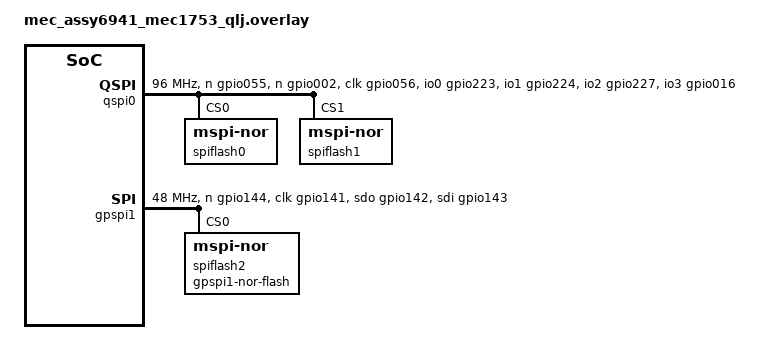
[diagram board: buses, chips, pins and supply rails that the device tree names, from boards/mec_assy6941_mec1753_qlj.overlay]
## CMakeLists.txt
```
# Copyright (c) 2026 Microchip Technology Inc.
#
# SPDX-License-Identifier: Apache-2.0
#
cmake_minimum_required(VERSION 3.20.0)

find_package(Zephyr REQUIRED HINTS $ENV{ZEPHYR_BASE})
project(mec_assy6941_mspi_test)

FILE(GLOB app_sources src/*.c)
target_sources(app PRIVATE ${app_sources})
```

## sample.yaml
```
sample:
  description: mec_assy6941 QMSPI-LDMA MSPI driver testing
  name: mec_assy6941 test
tests:
  sample.board.mec172xevb_assy6906.qmspi_ldma:
    harness: spi
    platform_allow:
      - mec_assy6906/mec1743_qlj
      - mec_assy6906/mec1743_qsz
      - mec_assy6906/mec1753_qlj
      - mec_assy6906/mec1753_qsz
    tags: mspi
    depends_on:
      - mspi
      - gpio
```

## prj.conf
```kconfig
# Enable config log
CONFIG_STDOUT_CONSOLE=y
CONFIG_LOG=y
CONFIG_LOG_MODE_IMMEDIATE=y

# CONFIG_FLASH=y
# CONFIG_FLASH_JESD216_API=y

CONFIG_DMA=y

CONFIG_MSPI=y
# Original MSPI Kconfig would load DMA driver
# QMSPI (except MEC15xx) has local-DMA channels
# We modified MSPI Kconfig to not enable DMA if
# our MSPI driver is enabled
CONFIG_MSPI_DMA=y
CONFIG_MSPI_ASYNC=y

# defaults
# CONFIG_DMA_INIT_PRIORITY=40
# CONFIG_INIT_FLASH_INIT_PRIORITY=50
# CONFIG_MSPI_INIT_PRIORITY=70
# We are using Flash MSPI NOR driver which during init
# calls MSPI driver. Change MSPI driver init priority to 49
CONFIG_MSPI_INIT_PRIORITY=49

CONFIG_FLASH=y
CONFIG_FLASH_JESD216_API=y
CONFIG_FLASH_MSPI_NOR_USE_SFDP=y

# we only need pseudo-random for test patterns
CONFIG_TEST_RANDOM_GENERATOR=y

# If CONFIG_PM=n Zephyr PINCTRL macros remove pinctrl-1 used for sleep
# This causes the PINCTRL macros to fail for pinctrl-2 and onwards.
# Enable PINCTRL keep sleep state to preserve pinctrl-1 pointer slot.
# Moved to select rule in drivers/mspi/Kconfig.mchp_xec
# CONFIG_PINCTRL_KEEP_SLEEP_STATE=y

# enable kernel idle timeout triggering PM transition
CONFIG_PM=n
# enable driver level PM. Kernel PM transition will call each driver
# before calling SoC layer
# Also enables PM API for the application to suspend individual devices
# and query their PM state.
CONFIG_PM_DEVICE=y

# Usage fault in MSPI driver debug routine calling LOG_INF many time
# try increasing main stack size
CONFIG_MAIN_STACK_SIZE=2048

# CONFIG_DEBUG=y
```

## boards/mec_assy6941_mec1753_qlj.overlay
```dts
/*
 * Copyright (c) 2026 Microchip Technology Inc.
 *
 * SPDX-License-Identifier: Apache-2.0
 */

/*
 * !!! WARNING !!!
 * QSPI0 Controller has two HW CE's and three sets of mutually
 * exclusive (clock, data) pin sets. Only one set of (clock, data)
 * shoule be enabled at one time.
 *
 * J18 2x10 for SPI donlge Assembly 6971
 * GPIO055/SHD_nCS0 -> J18.4  1SPI_nCS0
 * GPIO002/SHD_nCS1 -> J18.10 1SPI_nCS1
 * GPIO056/SHD_CLK  -> J18.2  1SPI_CLK
 * GPIO223/SHD_IO0  -> J18.6  1SPI_MOSI
 * GPIO224/SHD_IO1  -> J18.7  1SPI_MISO
 * GPIO227/SHD_IO2  -> J18.8  1SPI_nWP
 * GPIO016/SHD_IO3  -> J18.9  1SPI_nHOLD
 *
 * GPIO124/PVT_nCS -> J18.11 2SPI_nCS0
 * GPIO125/PVT_CLK -> J18.1  2SPI_CLK
 * GPIO121/PVT_IO0 -> J18.12 2SPI_MOSI
 * GPIO122/PVT_IO1 -> J18.13 2SPI_MISO
 * GPIO123/PVT_IO2 -> J18.14 2SPI_nWP
 * GPIO126/PVT_IO3 -> J18.16 2SPI_nHOLD
 *
 * GPIO024 F1 QGPSPI_CS
 * GPIO023 F1 QGPSPI_CLK
 * GPIO245 F1 QGPSPI_IO0
 * GPIO243 F1 QGPSPI_IO1
 * GPIO034 F1 QGPSPI_IO2
 * GPIO022 F1 QGPSPI_IO3
 *
 * EVB jumpers
 * -----------
 *
 * JP18 3x7 SHD_SPI pins
 * ---------------------
 *  2-3  select SHD_IO0
 *  5-6  select SHD_IO1
 *  8-9  select SHD_IO2
 * 11-12 select SHD_IO3
 * 14-15 select SHD_nCS0
 * 17-18 select SHD_CLK
 * 20-12 select SHD_nCS1
 *
 * JP16 3x6 PVT_SPI pins
 * --------------------
 *  2-3  select PVT_CLK
 *  5-6  select PVT_nCS
 *  8-9  select PVT_IO3
 * 11-12 select PVT_IO2
 * 14-15 select PVT_IO1
 * 17-18 select PVT_IO0
 *
 * JP17 3x7 QGPSPI pins
 * --------------------
 *  2-3  select QGPSPI_IO1
 *  5-6  select QGPSPI_IO0
 *  8-9  select QGPSPI_nCS
 * 11-12 select QGPSPI_CLK
 * 14-15 select QGPSPI_IO3
 * 17-18 select QGPSPI_IO2
 *
 * J32 2x8 QGPSPI header
 * ----------------------
 * 2  = QGPSPI_nCS
 * 4  = QGPSPI_CLK
 * 6  = QGPSPI_IO0
 * 8  = QGPSPI_IO1
 * 10 = QGPSPI_IO2
 * 12 = QGPSPI_IO3
 * 5,7,9,11,13,15 = GND
 *
 * ---------------------
 * GP-SPI0 controller
 * ---------------------
 *
 * JP15 3x6 MUX
 * ------------
 *  5-6  select SPI0_MOSI
 *  8-9  select SPI0_nCS0
 * 11-12 select SPI0_MISO
 * 17-18 select SPI0_CLK
 *
 * JP86 1x3
 * --------
 * 1-2 No Connect SPI0_nCS1 to U6 chip select pin
 * 2-3 select SPI0_nCS0 to U6 chip select pin
 *
 * EVB U6 SOIC-8
 * -------------
 * 5 = SPI0_MOSI
 * 2 = SPI0_MISO
 * 6 = SPI0_CLK
 * 1 = SPI0_nCS
 * 7 = nHOLD pulled-up (100K) to VTR1
 * 3 = nWP pull-up (100K) to VTR1
 *
 * J34 1x6 header
 * --------------
 * 1 = VTR1
 * 2 = SPI0_CLK
 * 3 = SPI0_MOSI
 * 4 = SPI0_MISO
 * 5 = SPI0_nCS0
 * 6 = GND
 */

#include <zephyr/dt-bindings/dma/mchp-xec-dmac.h>

/ {};

/* The Zephyr MSPI driver Kconfig rules enable CONFIG_DMA
 * if CONFIG_MSPI_DMA is enabled. MCHP QMSPI based MSPI driver
 * uses the local-DMA channels built into the QMSPI controller.
 * We did not want to change MSPI Kconfig rules so we must enable
 * our central DMA controller even though it is not used by QMSPI MSPI.
 * But, the future MSPI driver for the GPSPI controller will require
 * the DMA driver (it has no local DMA).
 */
&dmac {
	status = "okay";
};

&pinctrl {
	spi1_cs_n_gpio144_lp: spi1_cs_n_gpio144_lp {
		pinmux = <MCHP_XEC_PINMUX(0144, MCHP_AF3)>;
		low-power-enable;
	};

	spi1_clk_gpio141_lp: spi1_clk_gpio141_lp {
		pinmux = <MCHP_XEC_PINMUX(0141, MCHP_AF3)>;
		low-power-enable;
	};

	spi1_sdo_gpio142_lp: spi1_sdo_gpio142_lp {
		pinmux = <MCHP_XEC_PINMUX(0142, MCHP_AF3)>;
		low-power-enable;
	};

	spi1_sdi_gpio143_lp: spi1_sdi_gpio143_lp {
		pinmux = <MCHP_XEC_PINMUX(0143, MCHP_AF3)>;
		low-power-enable;
	};
};

&qspi0 {
	compatible = "microchip,xec-qmspi-mspi-controller";
	status = "okay";

	pinctrl-0 = <&qspi_shd_cs0_n_gpio055 &qspi_shd_cs1_n_gpio002
		     &qspi_shd_clk_gpio056
		     &qspi_shd_io0_gpio223 &qspi_shd_io1_gpio224
		     &qspi_shd_io2_gpio227 &qspi_shd_io3_gpio016>;
	pinctrl-1 = <&qspi_shd_io3_gpio016_lp &qspi_shd_io2_gpio227_lp
		     &qspi_shd_io1_gpio224_lp &qspi_shd_io0_gpio223_lp
		     &qspi_shd_clk_gpio056_lp &qspi_shd_cs0_n_gpio055_fp>;
	pinctrl-names = "default", "sleep";

	clock-frequency = <DT_FREQ_M(96)>; /* Maximum frequency the controller can support */
	op-mode = "MSPI_OP_MODE_CONTROLLER";
	duplex = "MSPI_HALF_DUPLEX";
	software-multiperipheral; /* REQUIRED */
	num-hw-ce = <2>; /* Shared SPI supports two HW chip enables */

	/* Use Shared CS1 as a GPIO instead of HW CE for test purposes
	 * ISSUE: MSPI_DEVICE_ID_DT macro will look at ce-gpios and use
	 * reg property as in index!
	 * MSPI_DEVICE_CONFIG_DT macro sets struct mspi_dev_cfg ce_num to
	 * the value of mspi-hardware-ce-num or 0 if mspi-hardware-ce-num is not present!
	 */
	/* ce-gpios = <MCHP_GPIO_DECODE_002 GPIO_ACTIVE_LOW>; */

	/* W25Q128JV 3.3V flash JEDEC-ID = 0xef, 0x40, 0x18
	 * supports:
	 *   1-1-1 Page program 0x02
	 *   1-1-4 Page program 0x32
	 *   1-1-1 Read 0x03 <= 20 MHz, no dummy clocks
	 *   1-1-1 Fast Read  0x0B plus 8 dummy clocks
	 *   1-1-2 Fast Read Dual Output 0x3B plus 8 dummy clocks
	 *   1-1-4 Fast Read Quad Output 0x6B plus 8 dummy clocks
	 *   1-2-2 Fast Read Dual 0xBB plus mode byte
	 *   1-4-4 Fast Read Quad 0xEB, plus mode byte
	 *
	 * W25Q128FW 1.8V flash JEDEC-ID = 0xef, 0x60, 0x18
	 * Same opcodes as above
	 *
	 * Requires mspi-endian = "MSPI_BIG_ENDIAN";
	 * because QSPI operates most-significant-bit-first and the MSPI flash driver
	 * defaults to MSPI_LITTLE_ENDIAN if mspi-endian property is not present!
	 */

	spiflash0: qspi-nor-flash@0 {
		compatible = "jedec,mspi-nor";
		reg = <0>;

		mspi-hardware-ce-num = <0>;
		mspi-max-frequency = <DT_FREQ_M(4)>;
		mspi-io-mode = "MSPI_IO_MODE_QUAD_1_1_4";
		mspi-data-rate = "MSPI_DATA_RATE_SINGLE";
		mspi-endian = "MSPI_BIG_ENDIAN";
		read-command = <0x6b>;
		write-command = <0x32>;
		command-length = "INSTR_1_BYTE";
		address-length = "ADDR_3_BYTE";
		tx-dummy = <0>;
		rx-dummy = <8>;
		size = <DT_SIZE_M(128)>;
		jedec-id = [ef 40 18];
		sfdp-bfp = [00];
		status = "okay";
	};

	spiflash1: qspi-nor-flash@1 {
		compatible = "jedec,mspi-nor";
		reg = <1>;

		mspi-hardware-ce-num = <1>;
		mspi-max-frequency = <DT_FREQ_M(4)>;
		mspi-io-mode = "MSPI_IO_MODE_QUAD_1_1_4";
		mspi-data-rate = "MSPI_DATA_RATE_SINGLE";
		mspi-endian = "MSPI_BIG_ENDIAN";
		read-command = <0x6b>;
		write-command = <0x32>;
		command-length = "INSTR_1_BYTE";
		address-length = "ADDR_3_BYTE";
		tx-dummy = <0>;
		rx-dummy = <8>;
		size = <DT_SIZE_M(128)>;
		jedec-id = [ef 40 18];
		sfdp-bfp = [00];
		status = "okay";
	};

};

/* EVB GP-SPI0 flash socket U6 is broken. Use GP-SPI1 and flash socket U7 */
&gpspi1 {
	compatible = "microchip,xec-gpspi-v2-mspi-controller";
	status = "okay";

	dmas = <&dmac 14 DMA_MCHP_XEC_TRIG_SRC_GPSPI1_TX>,
	       <&dmac 15 DMA_MCHP_XEC_TRIG_SRC_GPSPI1_RX>;
	dma-names = "tx", "rx";

	pinctrl-0 = <&spi1_cs_n_gpio144 &spi1_clk_gpio141
		     &spi1_sdo_gpio142 &spi1_sdi_gpio143>;
	pinctrl-1 = <&spi1_cs_n_gpio144_lp &spi1_clk_gpio141_lp
		     &spi1_sdo_gpio142_lp &spi1_sdi_gpio143_lp>;
	pinctrl-names = "default", "sleep";

	clock-frequency = <DT_FREQ_M(48)>; /* Maximum frequency the controller can support */
	op-mode = "MSPI_OP_MODE_CONTROLLER";
	duplex = "MSPI_HALF_DUPLEX";
	software-multiperipheral; /* REQUIRED */

	/* 25Q128JVSM +3.3V JEDEC-ID = 0xef7018 */
	spiflash2: gpspi1-nor-flash@0 {
		compatible = "jedec,mspi-nor";
		reg = <0>;

		mspi-hardware-ce-num = <0>;
		mspi-max-frequency = <DT_FREQ_M(4)>;
		mspi-io-mode = "MSPI_IO_MODE_SINGLE";
		mspi-data-rate = "MSPI_DATA_RATE_SINGLE";
		mspi-endian = "MSPI_BIG_ENDIAN";
		read-command = <0x0B>;
		write-command = <0x02>;
		command-length = "INSTR_1_BYTE";
		address-length = "ADDR_3_BYTE";
		tx-dummy = <0>;
		rx-dummy = <8>;
		size = <DT_SIZE_M(128)>;
		jedec-id = [ef 70 18];
		sfdp-bfp = [00];
		status = "okay";
	};
};
```

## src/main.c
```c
/*
 * Copyright (c) 2026 Microchip Technology Inc.
 *
 * SPDX-License-Identifier: Apache-2.0
 */

#include <string.h>
#include <soc.h>
#include <zephyr/kernel.h>
#include <zephyr/device.h>
#include <zephyr/drivers/flash.h>
#include <zephyr/drivers/mspi.h>
#include <zephyr/drivers/mspi/devicetree.h>
#include <zephyr/logging/log.h>
#include <zephyr/random/random.h>

LOG_MODULE_REGISTER(main);

/* #define APP_DEBUG_DUMP_CFGS */

#define W25Q128_JEDEC_ID       0x001840efU
#define W25Q128JV_JEDEC_ID     0x001870efU
#define SST26VF016B_JEDEC_ID   0x004126bfU
#define SPI_FLASH_JEDEC_ID_MSK 0x00ffffffu

#define SPI_FLASH_READ_JEDEC_ID_OPCODE 0x9fu

#define SPI_FLASH_READ_STATUS1_OPCODE 0x05u
#define SPI_FLASH_READ_STATUS2_OPCODE 0x35u
#define SPI_FLASH_READ_STATUS3_OPCODE 0x15u

#define SPI_FLASH_WRITE_STATUS1_OPCODE 0x01u
#define SPI_FLASH_WRITE_STATUS2_OPCODE 0x31u
#define SPI_FLASH_WRITE_STATUS3_OPCODE 0x11u

#define SPI_FLASH_WRITE_ENABLE_OPCODE              0x06u
#define SPI_FLASH_WRITE_DISABLE_OPCODE             0x04u
#define SPI_FLASH_WRITE_ENABLE_VOLATILE_STS_OPCODE 0x50u

#define SPI_FLASH_READ_SFDP_CMD 0x5au

#define SPI_FLASH_READ_SLOW_OPCODE 0x03u
#define SPI_FLASH_READ_FAST_OPCODE 0x0bu
#define SPI_FLASH_READ_DUAL_OPCODE 0x3bu
#define SPI_FLASH_READ_QUAD_OPCODE 0x6bu

#define SPI_FLASH_ERASE_SECTOR_OPCODE 0x20u
#define SPI_FLASH_ERASE_BLOCK1_OPCODE 0x52u
#define SPI_FLASH_ERASE_BLOCK2_OPCODE 0xd8u
#define SPI_FLASH_ERASE_CHIP_OPCODE   0xc7u

#define SPI_FLASH_PAGE_PROG_OPCODE 0x02u

#define SPI_FLASH_PAGE_SIZE   256
#define SPI_FLASH_SECTOR_SIZE 4096
#define SPI_FLASH_BLOCK1_SIZE (32 * 1024)
#define SPI_FLASH_BLOCK2_SIZE (64 * 1024)

#define SPI_FLASH_STATUS1_BUSY_POS 0
#define SPI_FLASH_STATUS1_WEL_POS  1

#define SPI_FLASH_STATUS2_SRL_POS     0
#define SPI_FLASH_STATUS2_QE_POS      1
#define SPI_FLASH_STATUS2_SUS_STS_POS 7

#define SPI_FLASH_TEST_ADDR MB(4)

#define MSPI0_NODE  DT_NODELABEL(qspi0)
#define FLASH0_NODE DT_NODELABEL(spiflash0)

#define MSPI1_NODE  DT_NODELABEL(gpspi0)
#define FLASH2_NODE DT_NODELABEL(spiflash2)

struct spi_address {
	uint32_t addr;
	uint8_t byte_len;
};

enum spi_flash_read_cmd {
	CMD_SPI_FLASH_READ_SLOW = 0,
	CMD_SPI_FLASH_READ_FAST,
	CMD_SPI_FLASH_READ_DUAL,
	CMD_SPI_FLASH_READ_QUAD,
	CMD_SPI_FLASH_READ_MAX
};

struct app_flash_info {
	const struct device *flash_dev;
	const struct mspi_dt_spec *mspi_dtspec;
	const struct mspi_dev_id mspi_fdid;
	const struct mspi_dev_cfg mspi_fdcfg;
};

#define MSPI_OP_MODE_DT(nid) \
	(enum mspi_op_mode)DT_ENUM_IDX_OR(nid, op_mode, MSPI_OP_MODE_CONTROLLER)

#define MSPI_DUPLEX_DT(nid) \
	(enum mspi_duplex)DT_ENUM_IDX_OR(nid, duplex, MSPI_HALF_DUPLEX)

#define APP_DECLARE_CE_GPIOS(nid) \
	static const struct gpio_dt_spec mspi_ce_gpios_##nid[] = \
		MSPI_CE_GPIOS_DT_SPEC_GET(nid);

DT_FOREACH_STATUS_OKAY(microchip_xec_qmspi_mspi_controller, APP_DECLARE_CE_GPIOS)
DT_FOREACH_STATUS_OKAY(microchip_xec_gpspi_v2_mspi_controller, APP_DECLARE_CE_GPIOS)

#define APP_MSPI_DT_SPEC_ELEM(nid) \
	static const struct mspi_dt_spec app_mspi_dt_##nid = { \
		.bus = DEVICE_DT_GET(nid), \
		.config = { \
			.channel_num = DT_PROP_OR(nid, channel_num, 0), \
			.op_mode = MSPI_OP_MODE_DT(nid), \
			.duplex = MSPI_DUPLEX_DT(nid), \
			.dqs_support = DT_PROP_OR(nid, dqs_support, 0), \
			.sw_multi_periph = DT_PROP_OR(nid, software_multiperipheral, 0), \
			.max_freq = DT_PROP_OR(nid, clock_frequency, MHZ(12)), \
			.num_periph = DT_CHILD_NUM(nid), \
			.ce_group = (struct gpio_dt_spec *)mspi_ce_gpios_##nid, \
			.num_ce_gpios = ARRAY_SIZE(mspi_ce_gpios_##nid), \
		} \
	}

DT_FOREACH_STATUS_OKAY(microchip_xec_qmspi_mspi_controller, APP_MSPI_DT_SPEC_ELEM);
DT_FOREACH_STATUS_OKAY(microchip_xec_gpspi_v2_mspi_controller, APP_MSPI_DT_SPEC_ELEM);

#define APP_FLASH_INFO2(fnid, nid) \
	{ \
		.flash_dev = DEVICE_DT_GET(fnid), \
		.mspi_dtspec = &app_mspi_dt_##nid, \
		.mspi_fdid = MSPI_DEVICE_ID_DT(fnid), \
		.mspi_fdcfg = MSPI_DEVICE_CONFIG_DT(fnid), \
	},

#define APP_FLASH_INFO(nid) \
	DT_FOREACH_CHILD_STATUS_OKAY_VARGS(nid, APP_FLASH_INFO2, nid)

static const struct app_flash_info app_flashes[] = {
	DT_FOREACH_STATUS_OKAY(microchip_xec_qmspi_mspi_controller, APP_FLASH_INFO)
	DT_FOREACH_STATUS_OKAY(microchip_xec_gpspi_v2_mspi_controller, APP_FLASH_INFO)
};

static uint32_t jedec_id;

#define SPI_TEST_BUF1_SIZE 256

static uint8_t buf1[SPI_TEST_BUF1_SIZE];

#define SPI_TEST_ADDR1 0xc10000u

#define SPI_FILL_VAL         0x69u
#define SPI_TEST_BUFFER_SIZE (8U * 1024U)

struct test_buf {
	union {
		uint32_t w[(SPI_TEST_BUFFER_SIZE) / 4];
		uint16_t h[(SPI_TEST_BUFFER_SIZE) / 2];
		uint8_t b[(SPI_TEST_BUFFER_SIZE)];
	};
};

static struct test_buf tb1;
static struct test_buf tb2;

static bool is_data_buf_filled_with(uint8_t *data, size_t datasz, uint8_t val);

#define BUF_FILL_INCR_VAL 0
#define BUF_FILL_RAND_VAL 1U
static int fill_buffer(uint8_t *buf, size_t bufsz, uint8_t fill_type);

static int test_mspi(const struct mspi_dt_spec *mspi_dts, const struct mspi_dev_id *mspi_did,
		     const struct mspi_dev_cfg *mspi_dcfg, enum mspi_xfer_mode xmode);

static int test_mspi_flash(const struct device *flash_dev);

static int test_mspi_dev_config(void);

#ifdef CONFIG_MSPI_ASYNC

static bool async_run = false;

static int mspi_async_test_prep(void);

static void mspi_async_cb(struct mspi_callback_context *mspi_cb_ctx, uint32_t status);

static int test_mspi_async(const struct mspi_dt_spec *mspi_dts, const struct mspi_dev_id *mspi_did,
			   const struct mspi_dev_cfg *mspi_dcfg, enum mspi_xfer_mode xmode);
#endif

#ifdef APP_DEBUG_DUMP_CFGS
static void pr_mspi_dev_ids(const struct mspi_dev_id *dev_id_tbl, size_t num_dev_ids);
static void pr_mspi_dev_cfgs(const struct mspi_dev_cfg *dev_cfg_tbl, size_t num_dev_cfgs);
#endif

int main(void)
{
	uint32_t ready_bitmap = 0;
	int rc = 0;
	struct mspi_dev_cfg dual_read_dcfg = {0};

	LOG_INF("MEC_Assy6941 board MSPI sample main");

	LOG_INF("Sizeof(struct mspi_cfg)       = 0x%0x", sizeof(struct mspi_cfg));
	LOG_INF("Sizeof(struct mspi_dev_id)    = 0x%0x", sizeof(struct mspi_dev_id));
	LOG_INF("Sizeof(struct mspi_dev_cfg)   = 0x%0x", sizeof(struct mspi_dev_cfg));
	LOG_INF("Sizeof(struct app_flash_info) = 0x%0x", sizeof(struct app_flash_info));

	jedec_id = 0xffffffffU;

	memset(buf1, 0, sizeof(buf1));
	memset((void *)&tb1, 0x55, sizeof(tb1));

#ifdef CONFIG_MSPI_ASYNC
	rc = mspi_async_test_prep();
	if (rc == 0) {
		async_run = true;
	} else {
		LOG_ERR("MSPI Async test prep error (%d)", rc);
	}
#endif

	for (size_t i = 0; i < ARRAY_SIZE(app_flashes); i++) {
		const struct app_flash_info *fi = &app_flashes[i];
		const struct device *flash_dev = fi->flash_dev;
		const struct mspi_dt_spec *mdt = fi->mspi_dtspec;
		const struct mspi_dev_id *did = &fi->mspi_fdid;
		const struct mspi_dev_cfg *dcfg = &fi->mspi_fdcfg;

		LOG_INF("App flash info [%u] name = %s", i, flash_dev->name);
		LOG_INF("MSPI controller = %s", mdt->bus->name);

		bool mspi_is_ready = device_is_ready(mdt->bus);
		if (!mspi_is_ready) {
			LOG_ERR("MSPI controller driver is not ready!");
		}

		bool flash_is_ready = device_is_ready(flash_dev);
		if (!flash_is_ready) {
			LOG_ERR("Flash driver is not ready!");
		}

		if (mspi_is_ready && flash_is_ready) {
			ready_bitmap |= BIT(i);
		} else {
			continue;
		}

		LOG_INF("Test MSPI_PIO");
		rc = test_mspi(mdt, did, dcfg, MSPI_PIO);
		if (rc != 0) {
			LOG_ERR("Test MSPI_PIO controller error (%d)", rc);
		}

		LOG_INF("Test MSPI_DMA");
		rc = test_mspi(mdt, did, dcfg, MSPI_DMA);
		if (rc != 0) {
			LOG_ERR("Test MSPI_DMA controller error (%d)", rc);
		}

		LOG_INF("Test MSPI Flash driver");
		rc = test_mspi_flash(flash_dev);
		if (rc != 0) {
			LOG_ERR("Test MSPI Flash driver error(%d)", rc);
		}

		memcpy((void *)&dual_read_dcfg, dcfg, sizeof(struct mspi_dev_cfg));
		dual_read_dcfg.io_mode = MSPI_IO_MODE_DUAL_1_1_2;
		dual_read_dcfg.rx_dummy = 8U;
		dual_read_dcfg.tx_dummy = 0;
		dual_read_dcfg.read_cmd = 0x3BU; /* 1-1-2 */
		dual_read_dcfg.write_cmd = 0x02U; /* 1-1-1 */
		dual_read_dcfg.cmd_length = 1U;
		dual_read_dcfg.addr_length = 3U;
		dual_read_dcfg.mem_boundary = 0;
		dual_read_dcfg.time_to_break = 0;

		LOG_INF("Test MSPI_PIO Dual");
		rc = test_mspi(mdt, did, &dual_read_dcfg, MSPI_PIO);
		if (rc != 0) {
			LOG_ERR("Test MSPI_PIO controller error (%d)", rc);
		}

		LOG_INF("Test MSPI_DMA Dual");
		rc = test_mspi(mdt, did, &dual_read_dcfg, MSPI_DMA);
		if (rc != 0) {
			LOG_ERR("Test MSPI_DMA controller error (%d)", rc);
		}

#ifdef CONFIG_MSPI_ASYNC
		if (!async_run) {
			LOG_ERR("Async prep failure, skipping tests");
			continue;
		}

		rc = test_mspi_async(mdt, did, dcfg, MSPI_PIO);
		if (rc != 0) {
			LOG_ERR("Test MSPI QMSPI Async PIO error (%d)", rc);
		}

		rc = test_mspi_async(mdt, did, dcfg, MSPI_DMA);
		if (rc != 0) {
			LOG_ERR("Test MSPI QMSPI Async DMA error (%d)", rc);
		}
#endif
	}

	rc = test_mspi_dev_config();
	if (rc != 0) {
		LOG_ERR("Test MSPI device config error (%d)", rc);
	}

	LOG_INF("Program End");

	return 0;
} /* end main */

static bool is_data_buf_filled_with(uint8_t *data, size_t datasz, uint8_t val)
{
	if (!data || !datasz) {
		return false;
	}

	for (size_t i = 0; i < datasz; i++) {
		if (data[i] != val) {
			return false;
		}
	}

	return true;
}

static int fill_buffer(uint8_t *buf, size_t bufsz, uint8_t fill_type)
{
	if ((buf == NULL) || (bufsz == 0)) {
		return -EINVAL;
	}

	if (fill_type == BUF_FILL_RAND_VAL) {
		sys_rand_get(buf, bufsz);
	} else {
		for (size_t n = 0; n < bufsz; n++) {
			buf[n] = (uint8_t)(n % 256U);
		}
	}

	return 0;
}

#ifdef APP_DEBUG_DUMP_CFGS
static void pr_mspi_dev_ids(const struct mspi_dev_id *dev_id_tbl, size_t num_dev_ids)
{
	if ((dev_id_tbl == NULL) || (num_dev_ids == 0)) {
		LOG_INF("MPSI device id table is empty");
		return;
	}

	for (size_t n = 0; n < num_dev_ids; n++) {
		const struct mspi_dev_id *did = &dev_id_tbl[n];

		LOG_INF("MSPI Device ID table entry %u", n);
		LOG_INF("  DevIdx = %u", did->dev_idx);
		LOG_INF("  ce.port = %p", did->ce.port);
		if (did->ce.port != NULL) {
			LOG_INF("    Port = %s", did->ce.port->name);
		}
		LOG_INF("  ce.pin = 0x%0x", did->ce.pin);
		LOG_INF("  cp.dt_flags = 0x%0x", did->ce.dt_flags);
	}
}

static void pr_mspi_dev_cfgs(const struct mspi_dev_cfg *dev_cfg_tbl, size_t num_dev_cfgs)
{
	if ((dev_cfg_tbl == NULL) || (num_dev_cfgs == 0)) {
		LOG_INF("MSPI device config table is empty");
		return;
	}

	for (size_t n = 0; n < num_dev_cfgs; n++) {
		const struct mspi_dev_cfg *dcfg = &dev_cfg_tbl[n];

		LOG_INF("MSPI Device Config table entry %u", n);
		LOG_INF("  CE Num = %u", dcfg->ce_num);
		LOG_INF("  Freq = %u", dcfg->freq);
		LOG_INF("  IO mode = %u", dcfg->io_mode);
		LOG_INF("  Data rate = %u", dcfg->data_rate);
		LOG_INF("  CPP = %u", dcfg->cpp);
		LOG_INF("  Endian = %u", dcfg->endian);
		LOG_INF("  CE polarity = %u", dcfg->ce_polarity);
		LOG_INF("  DQS Enable = %u", dcfg->dqs_enable);
		LOG_INF("  RX dummy = %u", dcfg->rx_dummy);
		LOG_INF("  TX dummy = %u", dcfg->tx_dummy);
		LOG_INF("  Read Cmd = 0x%0x", dcfg->read_cmd);
		LOG_INF("  Write Cmd = 0x%0x", dcfg->write_cmd);
		LOG_INF("  Cmd Length = %u", dcfg->cmd_length);
		LOG_INF("  Addr Length = %u", dcfg->addr_length);
		LOG_INF("  Mem Boundary = 0x%0x", dcfg->mem_boundary);
		LOG_INF("  Time to Break = %u", dcfg->time_to_break);
	}
}
#endif

static int test_mspi(const struct mspi_dt_spec *mspi_dts, const struct mspi_dev_id *mspi_did,
		     const struct mspi_dev_cfg *mspi_dcfg, enum mspi_xfer_mode xmode)
{
	int rc = 0;
	const enum mspi_dev_cfg_mask param_msk = MSPI_DEVICE_CONFIG_ALL;

	if ((mspi_dts == NULL) || (mspi_did == NULL) || (mspi_dcfg == NULL) |
	    ((xmode != MSPI_PIO) && (xmode != MSPI_DMA))) {
		return -EINVAL;
	}

	LOG_INF("Check if MSPI device %s is ready", mspi_dts->bus->name);
	if (!device_is_ready(mspi_dts->bus)) {
		LOG_ERR("MSPI driver not ready!\n");
		return -ENOTCONN;
	}

	LOG_INF("Fill test buffer tb1 with 0x55");
	memset((void *)&tb1, 0x55, sizeof(tb1));

	LOG_INF("Configure MSPI device using DT parameters");

	rc = mspi_dev_config(mspi_dts->bus, mspi_did, param_msk, mspi_dcfg);
	if (rc != 0) {
		LOG_ERR("MSPI device cfg API error (%d)", rc);
		return rc;
	}

	const struct mspi_xfer_packet pkt = {
		.dir = MSPI_RX,
		.cb_mask = 0,
		.cmd = mspi_dcfg->read_cmd,
		.address = SPI_FLASH_TEST_ADDR,
		.num_bytes = 32U,
		.data_buf = tb1.b,
	};

	const struct mspi_xfer mxfr = {
		.async = false,
		.xfer_mode = xmode,
		.tx_dummy = 0,
		.rx_dummy = 8U, /* cycles */
		.cmd_length = 1U, /* bytes */
		.addr_length = 3U, /* bytes */
		.hold_ce = false,
		.ce_sw_ctrl = {
			.gpio = {NULL, 0, 0},
			.delay = 0,
		},
		.priority = MSPI_XFER_PRIORITY_LOW,
		.packets = &pkt,
		.num_packet = 1U,
		.timeout = 10U, /* timeout in milliseconds */
	};

	rc = mspi_transceive(mspi_dts->bus, mspi_did, &mxfr);
	if (rc != 0) {
		LOG_ERR("MSPI transceive error (%d)", rc);
		return rc;
	}

	LOG_HEXDUMP_INF(tb1.b, 32U, "RX buffer contents");

	 /* all MSPI drivers are clearing dev_id if get channel status indicates not busy
	  * Therefore mspi_dev_config and mspi_transceive must be called back to back
	  */
	LOG_INF("Query MSPI channel 0 status");
	rc = mspi_get_channel_status(mspi_dts->bus, 0);
	if (rc == 0) {
		LOG_INF("MSPI channel 0 status OK");
	} else {
		LOG_ERR("MSPI get chan status error (%d)", rc);
		return rc;
	}

	return 0;
}

static int test_mspi_flash(const struct device *flash_dev)
{
	int rc = 0;
	uint32_t flash_len = 0, flash_offset = 0;
	uint32_t jedec_id = 0xDEADBEEFU;
	bool erased = false;

	rc = flash_read_jedec_id(flash_dev, (uint8_t *)&jedec_id);
	if (rc == 0) {
		LOG_INF("Flash driver read JEDEC-ID = 0x%08x", jedec_id);
	} else {
		LOG_ERR("Flash JEDEC-ID error (%d)", rc);
		return rc;
	}

	memset(&tb1.w, 0x55, SPI_FLASH_SECTOR_SIZE);

	flash_len = SPI_FLASH_SECTOR_SIZE;
	flash_offset = SPI_FLASH_TEST_ADDR;

	LOG_INF("Flash read %u bytes at 0x%0x", flash_len, (uint32_t)flash_offset);

	rc = flash_read(flash_dev, flash_offset, tb1.b, flash_len);
	if (rc != 0) {
		LOG_ERR("Flash read error (%d)", rc);
		return rc;
	}

	LOG_HEXDUMP_INF(tb1.b, 128, "First 128-bytes of sector");

	erased = is_data_buf_filled_with(tb1.b, flash_len, 0xffU);
	if (erased == true) {
		LOG_INF("Sector is currently erased");
	} else {
		LOG_INF("Sector is not in erased state");
	}

	if (erased == false) {
		LOG_INF("Erase Sector");
		/* flash API requries size passed to erase be valid sector size for the device */
		rc = flash_erase(flash_dev, flash_offset, SPI_FLASH_SECTOR_SIZE);
		if (rc < 0) {
			LOG_ERR("Flash erase failed (%d)", rc);
		}

		/* check if erased */
		memset((void *)tb1.b, 0x55, SPI_FLASH_SECTOR_SIZE);
		rc = flash_read(flash_dev, flash_offset, tb1.b, SPI_FLASH_SECTOR_SIZE);
		if (rc < 0) {
			LOG_ERR("Flash read failed (%d) at line %d", rc, __LINE__);
		}

		if (is_data_buf_filled_with(tb1.b, flash_len, 0xffU)) {
			LOG_INF("Sector read back shows it is erased");
		} else {
			LOG_ERR("Sector read back shows it is NOT erased");
		}
	}

	fill_buffer(tb2.b, flash_len, BUF_FILL_RAND_VAL);
	LOG_HEXDUMP_INF(tb2.b, 128, "First 128-bytes of new data");

	LOG_INF("Write to flash");

	rc = flash_write(flash_dev, flash_offset, (const void *)tb2.b, flash_len);
	if (rc != 0) {
		LOG_ERR("Flash write error (%d)", rc);
	}

	LOG_INF("Read back data");

	rc = flash_read(flash_dev, flash_offset, tb1.b, flash_len);
	if (rc != 0) {
		LOG_ERR("Flash read back error (%d)", rc);
	}

	LOG_HEXDUMP_INF(tb1.b, 128, "First 128-bytes of sector");

	rc = memcmp(tb1.b, tb2.b, flash_len);
	if (rc == 0) {
		LOG_INF("Flash read back matches data written: PASS");
	} else {
		LOG_INF("Flash read back does NOT match data written: FAIL");
	}

	return 0;
}

/* Test MSPI device config API changing less than all parameters
 * for different device (chip enables) on the same controller.
 */
static int test_mspi_dev_config(void)
{
	enum mspi_dev_cfg_mask param_mask = (MSPI_DEVICE_CONFIG_CE_NUM |
					     MSPI_DEVICE_CONFIG_FREQUENCY);
	int rc = 0;
	uint32_t freq = 0;
	struct mspi_dev_cfg dcfg_mod = {0};
	struct mspi_xfer req = {0};
	struct mspi_xfer_packet pkt = {0};

	LOG_INF("Test MSPI device config for one parameter (frequency)");

	memset(tb1.b, 0x55, sizeof(tb1));

	for (size_t i = 0; i < ARRAY_SIZE(app_flashes); i++) {
		const struct app_flash_info *fi = &app_flashes[i];
		const struct device *flash_dev = fi->flash_dev;
		const struct mspi_dt_spec *mdt = fi->mspi_dtspec;
		const struct mspi_dev_id *did = &fi->mspi_fdid;
		const struct mspi_dev_cfg *dcfg = &fi->mspi_fdcfg;

		LOG_INF("App flash info [%u] name = %s", i, flash_dev->name);
		LOG_INF("MSPI controller = %s", mdt->bus->name);

		bool mspi_is_ready = device_is_ready(mdt->bus);
		if (!mspi_is_ready) {
			LOG_ERR("MSPI controller driver is not ready!");
		}

		memset(tb1.b, 0x55, sizeof(tb1));
		memset(&req, 0, sizeof(req));
		memset(&pkt, 0, sizeof(pkt));
		memcpy(&dcfg_mod, dcfg, sizeof(struct mspi_dev_cfg));

		freq = MHZ(8);
		if (dcfg_mod.ce_num != 0) {
			freq = MHZ(16);
		}

		dcfg_mod.freq = freq;
		LOG_INF("Use ce_num = %u freq= %u", dcfg_mod.ce_num, dcfg_mod.freq);

		pkt.dir = MSPI_RX;
		pkt.cb_mask = 0;
		pkt.cmd = dcfg_mod.read_cmd;
		pkt.address = SPI_FLASH_TEST_ADDR;
		pkt.num_bytes = 8U;
		pkt.data_buf = &tb1.b[0];

		req.async = false;
		req.xfer_mode = MSPI_PIO;
		req.tx_dummy = dcfg_mod.tx_dummy;
		req.rx_dummy = dcfg_mod.rx_dummy;
		req.cmd_length = dcfg_mod.cmd_length;
		req.addr_length = dcfg_mod.addr_length;
		req.hold_ce = false;
		req.packets = &pkt;
		req.num_packet = 1U;
		req.timeout = 100U; /* 100 ms */

		rc = mspi_dev_config(mdt->bus, did, param_mask, &dcfg_mod);
		if (rc != 0) {
			LOG_ERR("MSPI device config ce & freq only error (%d)", rc);
			break;
		}

		rc = mspi_transceive(mdt->bus, did, &req);
		if (rc != 0) {
			LOG_ERR("MSPI transfer error (%d)", rc);
			break;
		}

		LOG_HEXDUMP_INF(tb1.b, 8U, "Data read");
	}

	return rc;
}

#ifdef CONFIG_MSPI_ASYNC

#define APP_ASYNC_WAIT_MS 5000

struct app_mspi_user_context {
	volatile uint32_t status;
	volatile uint32_t total_packets;
	struct k_sem all_done;
};

struct mspi_xfer async_xfer;
struct mspi_xfer_packet async_pkts[2];
struct mspi_callback_context async_cb_ctx;

struct app_mspi_user_context async_cb_user_ctx;

static int mspi_async_test_prep(void)
{
	int rc = 0;

	async_cb_user_ctx.status = 0xDEADBEEFU;
	async_cb_user_ctx.total_packets = 0;
	rc = k_sem_init(&async_cb_user_ctx.all_done, 1, 1);

	return rc;
}

static int mspi_async_test_prep_device(const struct mspi_dt_spec *mspi_dts,
				       const struct mspi_dev_id *mspi_did,
				       const struct mspi_dev_cfg *mspi_dcfg)
{
	k_sem_reset(&async_cb_user_ctx.all_done);

	return 0;
}

static void mspi_async_cb(struct mspi_callback_context *mspi_cb_ctx, uint32_t status)
{
	struct app_mspi_user_context *uctx = mspi_cb_ctx->ctx;

	mspi_cb_ctx->mspi_evt.evt_data.status = status;
	if (mspi_cb_ctx->mspi_evt.evt_data.packet_idx == uctx->total_packets - 1) {
		uctx->status = 0;
		k_sem_give(&uctx->all_done);
	}
}

static int test_mspi_async(const struct mspi_dt_spec *mspi_dts, const struct mspi_dev_id *mspi_did,
			   const struct mspi_dev_cfg *mspi_dcfg, enum mspi_xfer_mode xmode)
{
	uint32_t pkt1_rd_size = 64U, pkt2_rd_size = 127U;
	uint64_t wait_count = 0U;
	int rc = 0;

	LOG_INF("Test MSPI Async");

	if ((mspi_dts == NULL) || (mspi_did == NULL) || (mspi_dcfg == NULL) ||
	    ((xmode != MSPI_PIO) && (xmode != MSPI_DMA))) {
		return -EINVAL;
	}

	memset(&tb1, 0x55, sizeof(tb1));
	memset(&tb1, 0x55, sizeof(tb2));

	mspi_async_test_prep_device(mspi_dts, mspi_did, mspi_dcfg);

	async_pkts[0].dir = MSPI_RX,
	async_pkts[0].cmd = mspi_dcfg->read_cmd;
	async_pkts[0].address = SPI_FLASH_TEST_ADDR;
	async_pkts[0].num_bytes = pkt1_rd_size,
	async_pkts[0].data_buf = &tb1.b[0],
	async_pkts[0].cb_mask = MSPI_BUS_NO_CB;

	async_pkts[1].dir = MSPI_RX,
	async_pkts[1].cmd = mspi_dcfg->read_cmd;
	async_pkts[1].address = SPI_FLASH_TEST_ADDR + pkt1_rd_size;
	async_pkts[1].num_bytes = pkt2_rd_size,
	async_pkts[1].data_buf = &tb2.b[0],
	async_pkts[1].cb_mask = MSPI_BUS_NO_CB;

	async_xfer.async = true;
	async_xfer.xfer_mode = xmode;
	async_xfer.tx_dummy = mspi_dcfg->tx_dummy;
	async_xfer.rx_dummy = mspi_dcfg->rx_dummy;
	async_xfer.cmd_length = mspi_dcfg->cmd_length;
	async_xfer.addr_length = mspi_dcfg->addr_length;
	async_xfer.hold_ce = false;
	async_xfer.packets = async_pkts;
	async_xfer.num_packet = 2U;
	async_xfer.timeout = 1000U; /* one second */

	rc = mspi_dev_config(mspi_dts->bus, mspi_did, MSPI_DEVICE_CONFIG_ALL, mspi_dcfg);
	if (rc != 0) {
		LOG_ERR("MSPI device config error (%d)", rc);
		return rc;
	}

	async_cb_user_ctx.status = 0xDEADBEEFU;
	async_cb_user_ctx.total_packets = 2U;
	async_cb_ctx.ctx = (void *)&async_cb_user_ctx;

	rc = mspi_register_callback(mspi_dts->bus, mspi_did, MSPI_BUS_XFER_COMPLETE,
				    (mspi_callback_handler_t)mspi_async_cb, &async_cb_ctx);
	if (rc != 0) {
		LOG_ERR("MSPI register callback rb_cb_ctx error (%d)", rc);
		return rc;
	}

	rc = mspi_transceive(mspi_dts->bus, mspi_did, &async_xfer);
	if (rc != 0) {
		LOG_ERR("MSPI xfr error(%d)", rc);
		return rc;
	}

#if 0
	rc = k_sem_take(&async_cb_user_ctx.all_done, K_MSEC(APP_ASYNC_WAIT_MS));
	if (rc == -EAGAIN) {
		LOG_ERR("Timeout waiting for async MSPI reads to finish");
		return -ETIMEDOUT;
	}
#else
	while (async_cb_user_ctx.status != 0) {
		wait_count++;
		LOG_INF("Async CB user ctx pkt idx = %u",
			async_cb_ctx.mspi_evt.evt_data.packet_idx);
		k_busy_wait(100000U);
	}
#endif
	LOG_INF("wait count = %llu", wait_count);
	LOG_HEXDUMP_INF(tb1.b, pkt1_rd_size, "Async pkt[0] read data");
	LOG_HEXDUMP_INF(tb2.b, pkt2_rd_size, "Async pkt[1] read data");
	LOG_INF("Test MSPI Async Done");

	return 0;
}
#endif
```
